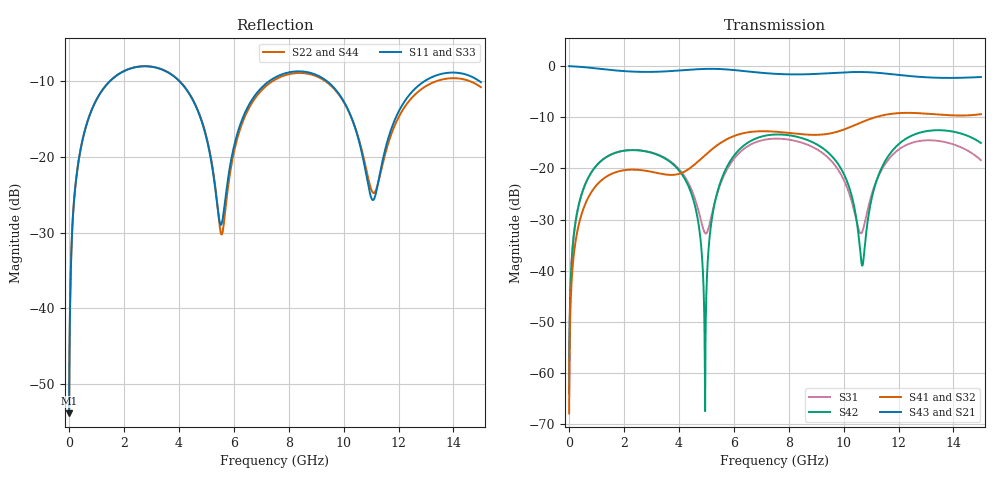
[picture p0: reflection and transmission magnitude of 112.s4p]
! Created with skrf 1.8.0 (http://scikit-rf.org).
# GHz S RI R 50.0
!freq ReS11 ImS11 ReS12 ImS12 ReS13 ImS13
! ReS14 ImS14
! ReS21 ImS21 ReS22 ImS22 ReS23 ImS23
! ReS24 ImS24
! ReS31 ImS31 ReS32 ImS32 ReS33 ImS33
! ReS34 ImS34
! ReS41 ImS41 ReS42 ImS42 ReS43 ImS43
! ReS44 ImS44
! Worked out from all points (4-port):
!   2499 points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, 5 MHz to 15 GHz, reference 50 ohm
!   strongest paths, dB at 5 MHz, 3.476 GHz, 7.19 GHz, 11.1 GHz, 15 GHz:
!     S43: 0.0, -1.0, -1.4, -1.3, -2.1
!     S21: 0.0, -1.0, -1.4, -1.3, -2.1
!     S41: -67.9, -21.2, -12.7, -10.1, -9.4
!     S32: -67.9, -21.2, -12.8, -10.1, -9.5
!     S42: -63.9, -18.0, -13.6, -24.2, -15.0
!     S31: -63.9, -17.9, -14.3, -23.8, -18.4
!   lowest |S11| = -53.8 dB at 5 MHz (marker M1), VSWR 1.00, Z = 50.2 + j0.124 ohm
!   |S11| at or under -10 dB: start of sweep to 1.5 GHz; 4.011 GHz to 7.303 GHz (3.292 GHz wide, 58.2 % of centre); 9.381 GHz to 12.96 GHz (3.579 GHz wide, 32 % of centre)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
0.005  0.00162 0.00123  0.9984 -0.00315  8.09e-05 0.00063  -7.86e-05 -0.000397
       0.9984 -0.00315  0.00162 0.00123  -7.86e-05 -0.000397  8.09e-05 0.00063
       8.09e-05 0.00063  -7.86e-05 -0.000397  0.00162 0.00123  0.9984 -0.00315
       -7.86e-05 -0.000397  8.09e-05 0.00063  0.9984 -0.00315  0.00162 0.00123
1.519383  0.2607 0.1833  0.5708 -0.7173  0.1216 0.0619  -0.0872 -0.00977
          0.5708 -0.7173  0.261 0.1833  -0.0871 -0.00992  0.1209 0.0629
          0.1216 0.0619  -0.0871 -0.00992  0.2608 0.1833  0.5708 -0.7173
          -0.0872 -0.00977  0.1209 0.0629  0.5708 -0.7173  0.2608 0.1833
4.239266  0.2132 -0.1865  -0.6138 -0.6789  0.0366 -0.0723  -0.0492 0.0802
          -0.6138 -0.6789  0.2125 -0.1896  -0.0503 0.0789  0.0473 -0.061
          0.0366 -0.0723  -0.0503 0.0789  0.2124 -0.1868  -0.6139 -0.679
          -0.0492 0.0802  0.0473 -0.061  -0.6139 -0.679  0.2126 -0.1887
4.952063  0.0753 -0.1235  -0.857 -0.3818  -0.0213 -0.00972  -0.0496 0.125
          -0.857 -0.3818  0.073 -0.1281  -0.0518 0.1241  -0.000172 -0.000495
          -0.0213 -0.00972  -0.0518 0.1241  0.0741 -0.1235  -0.8571 -0.3818
          -0.0496 0.125  -0.000172 -0.000495  -0.8571 -0.3818  0.0736 -0.1272
6.515215  0.1541 0.1477  -0.7757 0.4287  0.112 0.1215  0.1449 0.1727
          -0.7757 0.4287  0.1419 0.1451  0.1417 0.1746  0.1445 0.1052
          0.112 0.1215  0.1417 0.1746  0.1538 0.1488  -0.7758 0.4285
          0.1449 0.1727  0.1445 0.1052  -0.7758 0.4285  0.142 0.1445
11.05461  0.0516 -0.00556  0.8529 0.1555  -0.00988 0.0584  0.0409 -0.3073
          0.8529 0.1555  0.0574 -0.0103  0.0523 -0.3059  0.0121 0.054
          -0.00988 0.0584  0.0523 -0.3059  0.0451 -0.00398  0.8528 0.1564
          0.0409 -0.3073  0.0121 0.054  0.8528 0.1564  0.0629 -0.00823
15  0.2738 -0.1454  -0.2664 -0.7345  0.0529 -0.1083  -0.2964 0.1643
    -0.2664 -0.7345  0.2681 -0.1045  -0.3028 0.1474  0.0553 -0.1685
    0.0529 -0.1083  -0.3028 0.1474  0.2724 -0.1487  -0.2639 -0.7359
    -0.2964 0.1643  0.0553 -0.1685  -0.2639 -0.7359  0.2678 -0.0966
